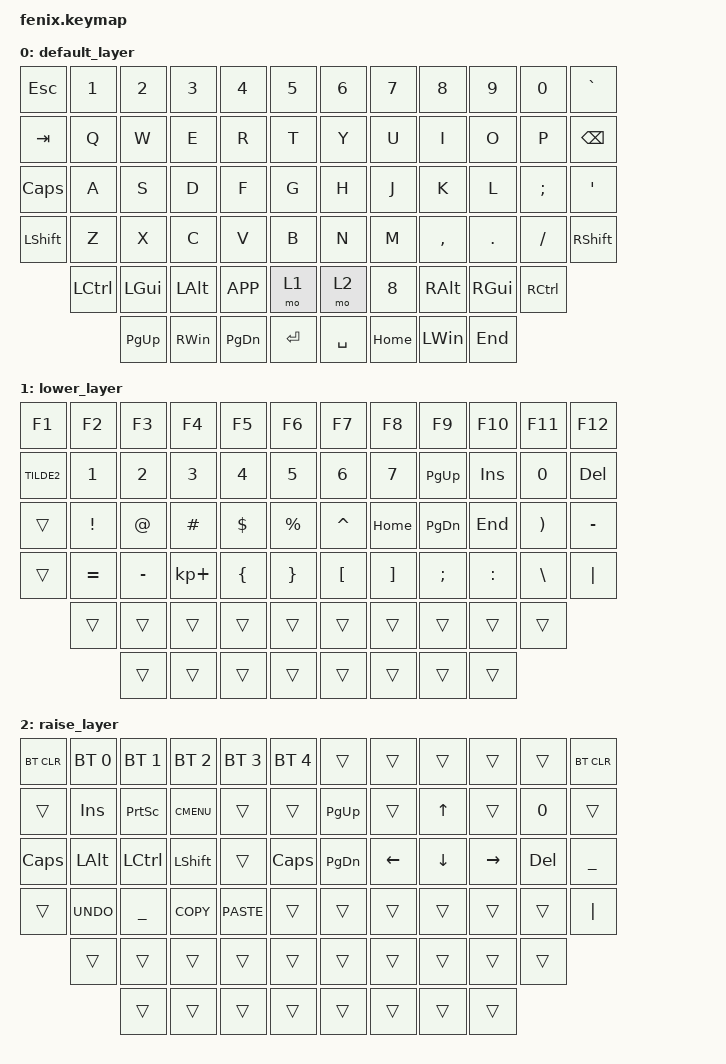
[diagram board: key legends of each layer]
/*
 * Copyright (c) 2020 The ZMK Contributors
 *
 * SPDX-License-Identifier: MIT
 */

#include <behaviors.dtsi>
#include <dt-bindings/zmk/keys.h>
#include <dt-bindings/zmk/bt.h>

/ {
    keymap {
        compatible = "zmk,keymap";

        default_layer {
// ------------------------------------------------------------------------------------------------------------
// |  ESC     |   1   |    2    |   3   |   4   |  5    |               |  6   |  7    |  8    |  9   |   0   |   `   |
// |  TAB     |   Q   |    W    |   E   |   R   |  T    |               |  Y   |  U    |  I    |  O   |   P   | BKSPC |
// | CAPSLOCK |   A   |    S    |   D   |   F   |  G    |               |  H   |  J    |  K    |  L   |   ;   |   '   |
// | LSHFT    |   Z   |    X    |   C   |   V   |  B    |               |  N   |  M    |  ,    |  .   |   /   | RSHFT |
//            | LCTRL |   LGUI  | LALT  | K_APP | LOWER |               | RAISE| K_APP | RALT  | RGUI | RCTRL |
//                    | PAGE_UP | RWIN  | PAGE_DOWN | ENTER  |          | SPACE | HOME | LWIN  |  END |
            bindings = <
&kp ESC      &kp N1     &kp N2       &kp N3    &kp N4         &kp N5            &kp N6     &kp N7     &kp N8     &kp N9    &kp N0    &kp GRAVE
&kp TAB      &kp Q      &kp W        &kp E     &kp R          &kp T             &kp Y      &kp U      &kp I      &kp O     &kp P     &kp BSPC
&kp CAPSLOCK &kp A      &kp S        &kp D     &kp F          &kp G             &kp H      &kp J      &kp K      &kp L     &kp SEMI  &kp SQT
&kp LSHFT    &kp Z      &kp X        &kp C     &kp V          &kp B             &kp N      &kp M      &kp COMMA  &kp DOT   &kp FSLH  &kp RSHFT
             &kp LCTRL  &kp LGUI     &kp LALT  &kp K_APP      &mo 1             &mo 2      &kp N8  &kp RALT   &kp RGUI  &kp RCTRL
                        &kp PAGE_UP  &kp RWIN  &kp PAGE_DOWN  &kp ENTER         &kp SPACE  &kp HOME   &kp LWIN   &kp END
            >;

        };

        lower_layer {
// TODO: Some binds are waiting for shifted keycode support.
// ------------------------------------------------------------------------------------------------------------
// |   F1  |  F2 |  F3 |  F4  |  F5  |  F6  |                   |  F7  |  F8   |  F9         |  F10  |  F11  |  F12  |
// |   ~   |   1 |   2 |   3  |   4  |   5  |                   |   6  |   7   |   PAGE_UP   | INSERT|    0  |   -   |
// |       |  !  |  @  |  #   |  $   |  %   |                   |  ^   | HOME  |  PAGE_DOWN  |  END  |   )   |   |   |
// |       |  =  |  -  |  +   |  {   |  }   |                   |  [   |  ]    |  ;          |  :    |   \   |       |
//         |     |     |      |      |      |                   |      |       |             |       |       |
//               |     |      |      |      |                   |      |       |             |       |
            bindings = <                       
&kp F1      &kp F2    &kp F3      &kp F4      &kp F5    &kp F6          &kp F7     &kp F8    &kp F9         &kp F10     &kp F11   &kp F12
&kp TILDE2  &kp N1    &kp N2      &kp N3      &kp N4    &kp N5          &kp N6     &kp N7    &kp PAGE_UP    &kp INSERT  &kp N0    &kp DEL
&trans      &kp EXCL  &kp AT      &kp HASH    &kp DLLR  &kp PRCNT       &kp CARET  &kp HOME  &kp PAGE_DOWN  &kp END     &kp RPAR  &kp MINUS
&trans      &kp EQUAL &kp MINUS   &kp KP_PLUS &kp LBRC  &kp RBRC        &kp LBKT   &kp RBKT  &kp SEMI       &kp COLON   &kp BSLH  &kp PIPE
            &trans    &trans      &trans      &trans    &trans          &trans     &trans    &trans         &trans      &trans
                      &trans      &trans      &trans    &trans          &trans     &trans    &trans         &trans
            >;
        };

        raise_layer {
// ------------------------------------------------------------------------------------------------------------
// |BTCLR| BT1  | BT2  |  BT3  |  BT4  |  BT5 |                |      |      |       |      |       |       |
// |     | INS  | PSCR | GUI   |       |      |                | PGUP |      |   ^   |      |       |  DEL  |
// |     | ALT  | CTRL | SHIFT |       | CAPS |                | PGDN |   <- |   v   |  ->  |  DEL  | BKSPC |
// |     | UNDO | _    | COPY  | PASTE |      |                |      |      |       |      |       |       |
//       |      |      |       |       |      |                |      |      |       |      |       |
//              |      |       |       |      |                |      |      |       |      |

            bindings = <
&bt BT_CLR  &bt BT_SEL 0  &bt BT_SEL 1    &bt BT_SEL 2  &bt BT_SEL 3  &bt BT_SEL 4    &trans     &trans    &trans    &trans     &trans   &bt BT_CLR
&trans      &kp INS       &kp PSCRN       &kp K_CMENU   &trans        &trans          &kp PG_UP  &trans    &kp UP    &trans     &kp N0   &trans
&kp CLCK    &kp LALT      &kp LCTRL       &kp LSHFT     &trans        &kp CLCK        &kp PG_DN  &kp LEFT  &kp DOWN  &kp RIGHT  &kp DEL  &kp UNDERSCORE
&trans      &kp K_UNDO    &kp UNDERSCORE  &kp K_COPY    &kp K_PASTE   &trans          &trans     &trans    &trans    &trans     &trans   &kp PIPE
            &trans        &trans          &trans        &trans        &trans          &trans     &trans    &trans    &trans     &trans
                          &trans          &trans        &trans        &trans          &trans     &trans    &trans    &trans
            >;  
        };
    };
};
